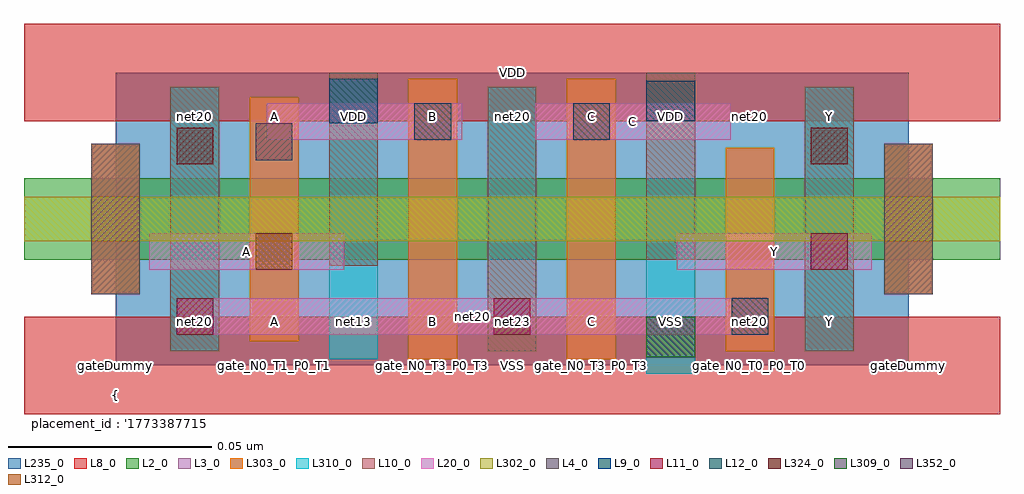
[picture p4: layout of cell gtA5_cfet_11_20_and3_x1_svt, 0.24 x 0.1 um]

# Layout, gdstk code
import gdstk
lib = gdstk.Library(unit=1e-6, precision=2.5e-10)
def R(c, l, rs):  # rectangles x0, y0, x1, y1
    for r in rs: c.add(gdstk.rectangle(r[:2], r[2:], *l))
def A(c, l, x, y, w, h, nx, ny, dx, dy):  # array of equal rectangles
    R(c, l, [(x+i*dx, y+j*dy, x+i*dx+w, y+j*dy+h) for i in range(nx) for j in range(ny)])
L2_0 = (2, 0)
L3_0 = (3, 0)
L4_0 = (4, 0)
L8_0 = (8, 0)
L9_0 = (9, 0)
L10_0 = (10, 0)
L11_0 = (11, 0)
L12_0 = (12, 0)
L20_0 = (20, 0)
L235_0 = (235, 0)
L302_0 = (302, 0)
L303_0 = (303, 0)
L309_0 = (309, 0)
L310_0 = (310, 0)
L312_0 = (312, 0)
L324_0 = (324, 0)
L352_0 = (352, 0)

gta5_cfet_11_20_and3_x1_ = lib.new_cell('gtA5_cfet_11_20_and3_x1_svt')
R(gta5_cfet_11_20_and3_x1_, L2_0, [(-0.0225,0.026,0.2175,0.046)])
R(gta5_cfet_11_20_and3_x1_, L3_0, [(0.072,0.0015,0.084,0.0705), (0.111,0.0015,0.123,0.0705), (0.15,0.0035,0.162,0.0535), (0.033,0.006,0.045,0.066), (-0.006,0.0175,0.006,0.0545), (0.189,0.0175,0.201,0.0545)])
R(gta5_cfet_11_20_and3_x1_, L4_0, [(-0.006,0.0175,0.006,0.0545), (0.189,0.0175,0.201,0.0545)])
R(gta5_cfet_11_20_and3_x1_, L8_0, [(-0.0225,-0.012,0.2175,0.012), (-0.0225,0.06,0.2175,0.084)])
R(gta5_cfet_11_20_and3_x1_, L9_0, [(0.0525,0.0595,0.0645,0.0705), (0.1305,0.06,0.1425,0.07)])
A(gta5_cfet_11_20_and3_x1_, L10_0, 0.0135, 0.0035, 0.012, 0.065, 3, 1, 0.078, 0)
R(gta5_cfet_11_20_and3_x1_, L10_0, [(0.0525,0.0245,0.0645,0.072), (0.1305,0.026,0.1425,0.072)])
R(gta5_cfet_11_20_and3_x1_, L11_0, [(0.015,0.0075,0.024,0.0165), (0.093,0.0075,0.102,0.0165), (0.171,0.0235,0.18,0.0325)])
R(gta5_cfet_11_20_and3_x1_, L12_0, [(0.1515,0.0075,0.1605,0.0165), (0.0735,0.0555,0.0825,0.0645), (0.1125,0.0555,0.1215,0.0645)])
R(gta5_cfet_11_20_and3_x1_, L20_0, [(0.015,0.0075,0.1605,0.0165), (0.0083,0.0235,0.0563,0.0325), (0.138,0.0235,0.186,0.0325), (0.0372,0.0555,0.0853,0.0645), (0.1033,0.0555,0.1512,0.0645)])
R(gta5_cfet_11_20_and3_x1_, L235_0, [(0,0,0.195,0.072)])
R(gta5_cfet_11_20_and3_x1_, L302_0, [(-0.0225,0.0305,0.2175,0.0415)])
R(gta5_cfet_11_20_and3_x1_, L303_0, [(0.072,0.0015,0.084,0.0705), (0.111,0.0015,0.123,0.0705), (0.15,0.0035,0.162,0.0535), (0.033,0.006,0.045,0.066), (-0.006,0.0175,0.006,0.0545), (0.189,0.0175,0.201,0.0545)])
R(gta5_cfet_11_20_and3_x1_, L309_0, [(0.1305,0.002,0.1425,0.012)])
R(gta5_cfet_11_20_and3_x1_, L310_0, [(0.1305,-0.002,0.1425,0.046), (0.0525,0.0015,0.0645,0.0705), (0.0135,0.0035,0.0255,0.0685), (0.1695,0.0035,0.1815,0.0685), (0.0915,0.026,0.1035,0.0685)])
R(gta5_cfet_11_20_and3_x1_, L312_0, [(0.0345,0.0235,0.0435,0.0325)])
R(gta5_cfet_11_20_and3_x1_, L324_0, [(0.015,0.0495,0.024,0.0585), (0.171,0.0495,0.18,0.0585)])
R(gta5_cfet_11_20_and3_x1_, L352_0, [(0.0345,0.0505,0.0435,0.0595)])
gta5_cfet_11_20_and3_x1_.add(gdstk.Label('net20', (0.0878,0.012), layer=100, texttype=100))
gta5_cfet_11_20_and3_x1_.add(gdstk.Label('gateDummy', (0,0), layer=103, texttype=103))
gta5_cfet_11_20_and3_x1_.add(gdstk.Label('sd_N0_T0_P0_T0', (0.0195,0), layer=103, texttype=103))
gta5_cfet_11_20_and3_x1_.add(gdstk.Label('gate_N0_T1_P0_T1', (0.039,0), layer=103, texttype=103))
gta5_cfet_11_20_and3_x1_.add(gdstk.Label('sd_P0_VDD', (0.0585,0), layer=103, texttype=103))
gta5_cfet_11_20_and3_x1_.add(gdstk.Label('gate_N0_T3_P0_T3', (0.078,0), layer=103, texttype=103))
gta5_cfet_11_20_and3_x1_.add(gdstk.Label('sd_N0_abut_P0_T0', (0.0975,0), layer=103, texttype=103))
gta5_cfet_11_20_and3_x1_.add(gdstk.Label('gate_N0_T3_P0_T3', (0.117,0), layer=103, texttype=103))
gta5_cfet_11_20_and3_x1_.add(gdstk.Label('sd_N0_VSS_P0_VDD', (0.1365,0), layer=103, texttype=103))
gta5_cfet_11_20_and3_x1_.add(gdstk.Label('gate_N0_T0_P0_T0', (0.156,0), layer=103, texttype=103))
gta5_cfet_11_20_and3_x1_.add(gdstk.Label('sd_N0_T1_P0_T1', (0.1755,0), layer=103, texttype=103))
gta5_cfet_11_20_and3_x1_.add(gdstk.Label('gateDummy', (0.195,0), layer=103, texttype=103))
gta5_cfet_11_20_and3_x1_.add(gdstk.Label('}', (0,-0.0785), layer=104, texttype=104))
gta5_cfet_11_20_and3_x1_.add(gdstk.Label('  power : None', (0,-0.0713), layer=104, texttype=104))
gta5_cfet_11_20_and3_x1_.add(gdstk.Label('  performance : None', (0,-0.0643), layer=104, texttype=104))
gta5_cfet_11_20_and3_x1_.add(gdstk.Label("  solution_hash : '3467034761835906992'", (0,-0.057), layer=104, texttype=104))
gta5_cfet_11_20_and3_x1_.add(gdstk.Label('  number_m2 : 0', (0,-0.05), layer=104, texttype=104))
gta5_cfet_11_20_and3_x1_.add(gdstk.Label('  number_m1 : 0', (0,-0.0428), layer=104, texttype=104))
gta5_cfet_11_20_and3_x1_.add(gdstk.Label('  number_m0cuts : 0', (0,-0.0358), layer=104, texttype=104))
gta5_cfet_11_20_and3_x1_.add(gdstk.Label('  number_m0 : 5', (0,-0.0285), layer=104, texttype=104))
gta5_cfet_11_20_and3_x1_.add(gdstk.Label("  solution_number : '0000'", (0,-0.0215), layer=104, texttype=104))
gta5_cfet_11_20_and3_x1_.add(gdstk.Label("  placement_id : '17733877158983543434'", (0,-0.0143), layer=104, texttype=104))
gta5_cfet_11_20_and3_x1_.add(gdstk.Label('{', (0,-0.0073), layer=104, texttype=104))
gta5_cfet_11_20_and3_x1_.add(gdstk.Label('net20', (0.0195,0.0108), layer=105, texttype=105))
gta5_cfet_11_20_and3_x1_.add(gdstk.Label('A', (0.039,0.0108), layer=105, texttype=105))
gta5_cfet_11_20_and3_x1_.add(gdstk.Label('net13', (0.0585,0.0108), layer=105, texttype=105))
gta5_cfet_11_20_and3_x1_.add(gdstk.Label('B', (0.078,0.0108), layer=105, texttype=105))
gta5_cfet_11_20_and3_x1_.add(gdstk.Label('net23', (0.0975,0.0108), layer=105, texttype=105))
gta5_cfet_11_20_and3_x1_.add(gdstk.Label('C', (0.117,0.0108), layer=105, texttype=105))
gta5_cfet_11_20_and3_x1_.add(gdstk.Label('VSS', (0.1365,0.0108), layer=105, texttype=105))
gta5_cfet_11_20_and3_x1_.add(gdstk.Label('net20', (0.156,0.0108), layer=105, texttype=105))
gta5_cfet_11_20_and3_x1_.add(gdstk.Label('Y', (0.1755,0.0108), layer=105, texttype=105))
gta5_cfet_11_20_and3_x1_.add(gdstk.Label('net20', (0.0195,0.0612), layer=105, texttype=105))
gta5_cfet_11_20_and3_x1_.add(gdstk.Label('A', (0.039,0.0612), layer=105, texttype=105))
gta5_cfet_11_20_and3_x1_.add(gdstk.Label('VDD', (0.0585,0.0612), layer=105, texttype=105))
gta5_cfet_11_20_and3_x1_.add(gdstk.Label('B', (0.078,0.0612), layer=105, texttype=105))
gta5_cfet_11_20_and3_x1_.add(gdstk.Label('net20', (0.0975,0.0612), layer=105, texttype=105))
gta5_cfet_11_20_and3_x1_.add(gdstk.Label('C', (0.117,0.0612), layer=105, texttype=105))
gta5_cfet_11_20_and3_x1_.add(gdstk.Label('VDD', (0.1365,0.0612), layer=105, texttype=105))
gta5_cfet_11_20_and3_x1_.add(gdstk.Label('net20', (0.156,0.0612), layer=105, texttype=105))
gta5_cfet_11_20_and3_x1_.add(gdstk.Label('Y', (0.1755,0.0612), layer=105, texttype=105))
gta5_cfet_11_20_and3_x1_.add(gdstk.Label('VSS', (0.0975,0), layer=8, texttype=0))
gta5_cfet_11_20_and3_x1_.add(gdstk.Label('VDD', (0.0975,0.072), layer=8, texttype=0))
gta5_cfet_11_20_and3_x1_.add(gdstk.Label('A', (0.0323,0.028), layer=20, texttype=251))
gta5_cfet_11_20_and3_x1_.add(gdstk.Label('Y', (0.162,0.028), layer=20, texttype=251))
gta5_cfet_11_20_and3_x1_.add(gdstk.Label('B', (0.0612,0.06), layer=20, texttype=251))
gta5_cfet_11_20_and3_x1_.add(gdstk.Label('C', (0.1273,0.06), layer=20, texttype=251))
gta5_cfet_11_20_and3_x1_.add(gdstk.Label('gtA5_cfet_11_20_and3_x1_rvt_0', (0,0), layer=235, texttype=0))

lib.write_gds('gtA5_cfet_11_20_and3_x1_svt.gds')
